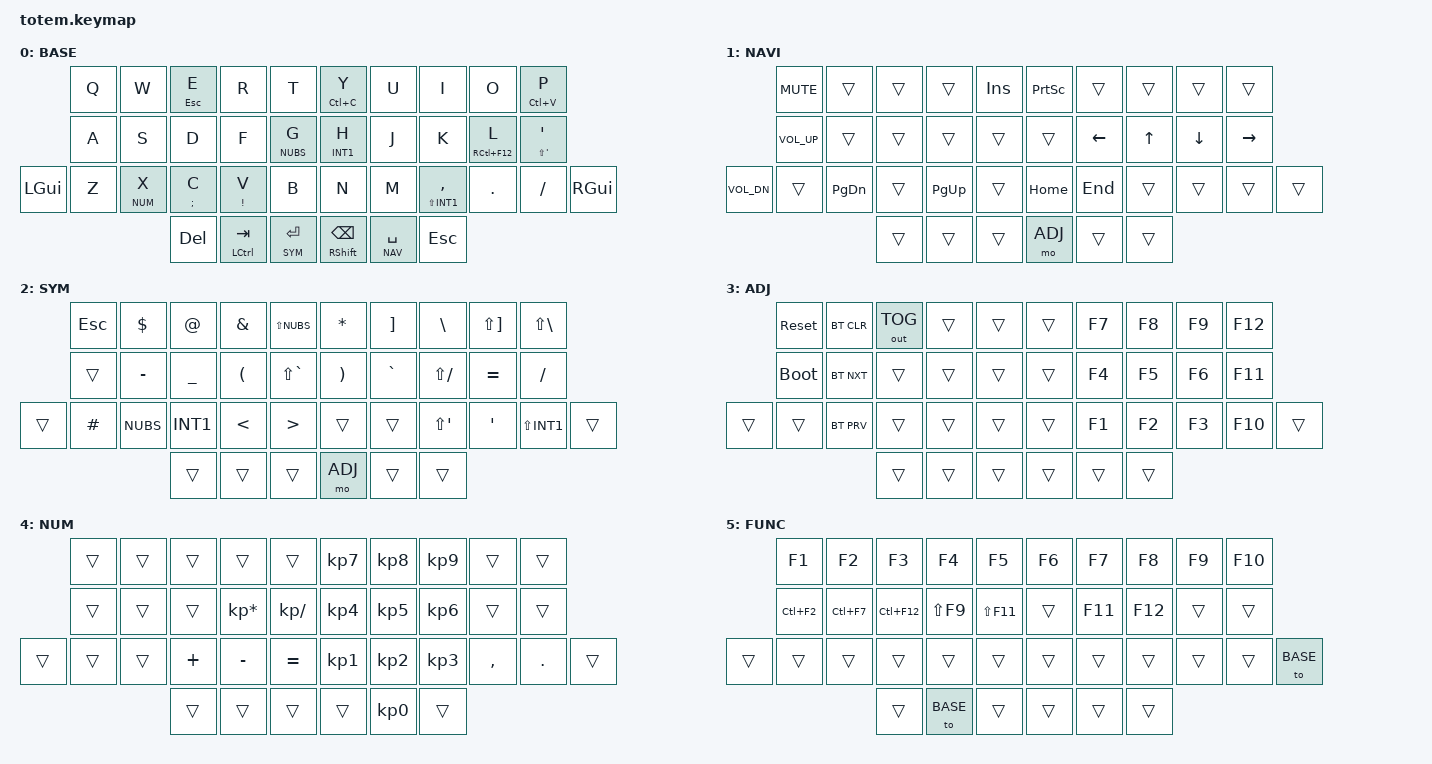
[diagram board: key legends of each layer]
//
//                                                        ▀▀▀▀▀     ▀▀▀▀▀          ▀▀█▀▀
//                                                        ▄▀▀▀▄  ▄  ▄▀▀▀▄  ▄  ▄▀▀▀▄  █  ▄▀▀▀▄
//                                                        █   █  █  █   █  █  █   █  █  █   █
//                                                         ▀▀▀   █   ▀▀▀   █   ▀▀▀   ▀   ▀▀▀
//                                                               █      ▄▄▄█▄▄▄    █   █  
//                                                               ▀      █  █  █     █▄█
//                                                             ▀▀▀▀▀    █  █  █      ▀
//                                                                      ▀  ▀  ▀
//
// ▄▄▄▄▄▄▄▄▄▄▄▄▄▄▄▄▄▄▄▄▄▄▄▄▄▄▄▄▄▄▄▄▄▄▄▄▄▄▄▄▄▄▄▄▄▄▄▄▄▄▄▄▄▄▄▄▄▄▄▄▄▄▄▄▄▄▄▄▄▄▄▄▄▄▄▄▄▄▄▄▄▄▄▄▄▄▄▄▄▄▄▄▄▄▄▄▄▄▄▄▄▄▄▄▄▄▄▄▄▄▄▄▄▄▄▄▄▄▄▄▄▄▄▄▄▄▄▄▄▄▄▄▄▄▄▄▄▄▄▄▄▄▄▄▄▄▄▄▄
       

#include <behaviors.dtsi>
#include <dt-bindings/zmk/behaviors.h>
#include <dt-bindings/zmk/keys.h>
#include <dt-bindings/zmk/bt.h>
#include <dt-bindings/zmk/outputs.h>

#define BASE 0
#define NAV  1
#define SYM  2
#define ADJ  3
#define NUM  4
#define FUNC 5

&mt {
  quick-tap-ms = <100>;
  global-quick-tap;
  flavor = "tap-preferred";
  tapping-term-ms = <170>;
};

/ {
     combos {
            compatible = "zmk,combos";
            combo_esc {
                timeout-ms = <50>;
                key-positions = <0 1>;
                bindings = <&kp ESC>;
            };
            combo_func {
                timeout-ms = <80>;
                key-positions = <33 35>;
                bindings = <&to FUNC>;
            };
    };

    macros {
        gif: gif {
            label = "giphy";
            compatible = "zmk,behavior-macro";
            #binding-cells = <0>;
            bindings
                = <&macro_press &kp LSHFT>
                , <&macro_tap &kp N2>
                , <&macro_release &kp LSHFT>
                , <&macro_tap &kp G &kp I &kp F>
                ;
        };
    };

    behaviors {
        th: tap_hold_key {
            compatible = "zmk,behavior-hold-tap";
            #binding-cells = <2>;
            flavor = "tap-preferred";
            tapping-term-ms = <170>;
            quick-tap-ms = <100>;
            bindings = <&kp>, <&kp>;
            display-name = "Tap-Hold Key";
        };
    };

        keymap {
                compatible = "zmk,keymap";
// ▄▄▄▄▄▄▄▄▄▄▄▄▄▄▄▄▄▄▄▄▄▄▄▄▄▄▄▄▄▄▄▄▄▄▄▄▄▄▄▄▄▄▄▄▄▄▄▄▄▄▄▄▄▄▄▄▄▄▄▄▄▄▄▄▄▄▄▄▄▄▄▄▄▄▄▄▄▄▄▄▄▄▄▄▄▄▄▄▄▄▄▄▄▄▄▄▄▄▄▄▄▄▄▄▄▄▄▄▄▄▄▄▄▄▄▄▄▄▄▄▄▄▄▄▄▄▄▄▄▄▄▄▄▄▄▄▄▄▄▄▄▄▄▄▄▄▄▄▄

                base_layer {
// ┏━━━━━━━━━━━━━━━━━━━━━━━━━━━━━━━━━━━━━━━┓
label= "BASE"                              ;
// ┗━━━━━━━━━━━━━━━━━━━━━━━━━━━━━━━━━━━━━━━┛
//             ┏━━━━━━━━━━━┳━━━━━━━━━━━┳━━━━━━━━━━━┳━━━━━━━━━━━┳━━━━━━━━━━━┓   ┏━━━━━━━━━━━┳━━━━━━━━━━━┳━━━━━━━━━━━┳━━━━━━━━━━━┳━━━━━━━━━━━┓
//             ┃     Q     ┃     W     ┃  E / ESC  ┃     R     ┃     T     ┃   ┃ Y / COPY  ┃     U     ┃     I     ┃     O     ┃ P / PASTE ┃
//             ┣━━━━━━━━━━━╋━━━━━━━━━━━╋━━━━━━━━━━━╋━━━━━━━━━━━╋━━━━━━━━━━━┫   ┣━━━━━━━━━━━╋━━━━━━━━━━━╋━━━━━━━━━━━╋━━━━━━━━━━━╋━━━━━━━━━━━┫
//             ┃     A     ┃     S     ┃     D     ┃     F     ┃  G / \    ┃   ┃  H / /    ┃     J     ┃     K     ┃ L / C-F12 ┃  ~ / ^    ┃
// ┏━━━━━━━━━━━╋━━━━━━━━━━━╋━━━━━━━━━━━╋━━━━━━━━━━━╋━━━━━━━━━━━╋━━━━━━━━━━━┫   ┣━━━━━━━━━━━╋━━━━━━━━━━━╋━━━━━━━━━━━╋━━━━━━━━━━━╋━━━━━━━━━━━╋━━━━━━━━━━━┓
// ┃    GUI    ┃     Z     ┃  X / NUM  ┃  C / Ç    ┃  V / !    ┃     B     ┃   ┃     N     ┃     M     ┃  , / ?    ┃     .     ┃     /     ┃    GUI    ┃
// ┗━━━━━━━━━━━┻━━━━━━━━━━━┻━━━━━━━━━━━╋━━━━━━━━━━━╋━━━━━━━━━━━╋━━━━━━━━━━━┫   ┣━━━━━━━━━━━╋━━━━━━━━━━━╋━━━━━━━━━━━╋━━━━━━━━━━━┻━━━━━━━━━━━┻━━━━━━━━━━━┛
//                                     ┃    DEL    ┃ TAB/CTRL  ┃ ENTER/SYM ┃   ┃ BSPC/SHFT ┃ SPACE/NAV ┃    ESC    ┃
//                                     ┗━━━━━━━━━━━┻━━━━━━━━━━━┻━━━━━━━━━━━┛   ┗━━━━━━━━━━━┻━━━━━━━━━━━┻━━━━━━━━━━━┛
 bindings = <
// ╷           ╷           ╷           ╷           ╷           ╷           ╷   ╷           ╷           ╷           ╷           ╷           ╷           ╷

                &kp Q       &kp W       &th ESC E   &kp R       &kp T              &th LC(C) Y &kp U       &kp I       &kp O          &th LC(V) P
                &kp A       &kp S       &kp D       &kp F       &th NUBS G         &th INT1 H  &kp J       &kp K       &th RC(F12) L  &th LS(SQT) SQT
    &kp LGUI    &kp Z       &lt NUM X   &th SEMI C  &th EXCL V   &kp B              &kp N       &kp M       &th LS(INT1) COMMA &kp DOT  &kp FSLH    &kp RGUI
                                        &kp DEL   &mt LCTRL TAB &lt SYM RET    &mt RSHFT BSPC &lt NAV SPACE &kp ESC
                        >;
                };

// ▄▄▄▄▄▄▄▄▄▄▄▄▄▄▄▄▄▄▄▄▄▄▄▄▄▄▄▄▄▄▄▄▄▄▄▄▄▄▄▄▄▄▄▄▄▄▄▄▄▄▄▄▄▄▄▄▄▄▄▄▄▄▄▄▄▄▄▄▄▄▄▄▄▄▄▄▄▄▄▄▄▄▄▄▄▄▄▄▄▄▄▄▄▄▄▄▄▄▄▄▄▄▄▄▄▄▄▄▄▄▄▄▄▄▄▄▄▄▄▄▄▄▄▄▄▄▄▄▄▄▄▄▄▄▄▄▄▄▄▄▄▄▄▄▄▄▄▄▄


                nav_layer {
// ┏━━━━━━━━━━━━━━━━━━━━━━━━━━━━━━━━━━━━━━━┓
label= "NAVI"                              ;
// ┗━━━━━━━━━━━━━━━━━━━━━━━━━━━━━━━━━━━━━━━┛
//             ┏━━━━━━━━━━━┳━━━━━━━━━━━┳━━━━━━━━━━━┳━━━━━━━━━━━┳━━━━━━━━━━━┓   ┏━━━━━━━━━━━┳━━━━━━━━━━━┳━━━━━━━━━━━┳━━━━━━━━━━━┳━━━━━━━━━━━┓
//             ┃   MUTE    ┃           ┃           ┃           ┃    INS    ┃   ┃   PSCR    ┃           ┃           ┃           ┃           ┃
//             ┣━━━━━━━━━━━╋━━━━━━━━━━━╋━━━━━━━━━━━╋━━━━━━━━━━━╋━━━━━━━━━━━┫   ┣━━━━━━━━━━━╋━━━━━━━━━━━╋━━━━━━━━━━━╋━━━━━━━━━━━╋━━━━━━━━━━━┫
//             ┃   VOL+    ┃           ┃           ┃           ┃           ┃   ┃           ┃   LEFT    ┃    UP     ┃   DOWN    ┃   RIGHT   ┃
// ┏━━━━━━━━━━━╋━━━━━━━━━━━╋━━━━━━━━━━━╋━━━━━━━━━━━╋━━━━━━━━━━━╋━━━━━━━━━━━┫   ┣━━━━━━━━━━━╋━━━━━━━━━━━╋━━━━━━━━━━━╋━━━━━━━━━━━╋━━━━━━━━━━━╋━━━━━━━━━━━┓
// ┃   VOL-    ┃           ┃   PG DN   ┃           ┃   PG UP   ┃           ┃   ┃   HOME    ┃    END    ┃           ┃           ┃           ┃           ┃
// ┗━━━━━━━━━━━┻━━━━━━━━━━━┻━━━━━━━━━━━╋━━━━━━━━━━━╋━━━━━━━━━━━╋━━━━━━━━━━━┫   ┣━━━━━━━━━━━╋━━━━━━━━━━━╋━━━━━━━━━━━╋━━━━━━━━━━━┻━━━━━━━━━━━┻━━━━━━━━━━━┛
//                                     ┃           ┃           ┃           ┃   ┃    ADJ    ┃           ┃           ┃
//                                     ┗━━━━━━━━━━━┻━━━━━━━━━━━┻━━━━━━━━━━━┛   ┗━━━━━━━━━━━┻━━━━━━━━━━━┻━━━━━━━━━━━┛
 bindings = <
// ╷           ╷           ╷           ╷           ╷           ╷           ╷   ╷           ╷           ╷           ╷           ╷           ╷           ╷

                &kp C_MUTE  &trans      &trans      &trans      &kp INS         &kp PSCRN   &trans      &trans      &trans      &trans
                &kp C_VOL_UP &trans     &trans      &trans      &trans          &trans      &kp LEFT    &kp UP      &kp DOWN    &kp RIGHT
    &kp C_VOL_DN &trans     &kp PG_DN   &trans      &kp PG_UP   &trans          &kp HOME    &kp END     &trans      &trans      &trans      &trans
                                        &trans      &trans      &trans          &mo ADJ     &trans      &trans
                        >;
                };

// ▄▄▄▄▄▄▄▄▄▄▄▄▄▄▄▄▄▄▄▄▄▄▄▄▄▄▄▄▄▄▄▄▄▄▄▄▄▄▄▄▄▄▄▄▄▄▄▄▄▄▄▄▄▄▄▄▄▄▄▄▄▄▄▄▄▄▄▄▄▄▄▄▄▄▄▄▄▄▄▄▄▄▄▄▄▄▄▄▄▄▄▄▄▄▄▄▄▄▄▄▄▄▄▄▄▄▄▄▄▄▄▄▄▄▄▄▄▄▄▄▄▄▄▄▄▄▄▄▄▄▄▄▄▄▄▄▄▄▄▄▄▄▄▄▄▄▄▄▄


                sim_layer {
// ┏━━━━━━━━━━━━━━━━━━━━━━━━━━━━━━━━━━━━━━━┓
label= "SYM"                               ;
// ┗━━━━━━━━━━━━━━━━━━━━━━━━━━━━━━━━━━━━━━━┛
//             ┏━━━━━━━━━━━┳━━━━━━━━━━━┳━━━━━━━━━━━┳━━━━━━━━━━━┳━━━━━━━━━━━┓   ┏━━━━━━━━━━━┳━━━━━━━━━━━┳━━━━━━━━━━━┳━━━━━━━━━━━┳━━━━━━━━━━━┓
//             ┃    ESC    ┃     $     ┃     @     ┃     &     ┃     |     ┃   ┃     *     ┃     [     ┃     ]     ┃     {     ┃     }     ┃
//             ┣━━━━━━━━━━━╋━━━━━━━━━━━╋━━━━━━━━━━━╋━━━━━━━━━━━╋━━━━━━━━━━━┫   ┣━━━━━━━━━━━╋━━━━━━━━━━━╋━━━━━━━━━━━╋━━━━━━━━━━━╋━━━━━━━━━━━┫
//             ┃           ┃     -     ┃     _     ┃     (     ┃     "     ┃   ┃     )     ┃     '     ┃     :     ┃     =     ┃     ;     ┃
// ┏━━━━━━━━━━━╋━━━━━━━━━━━╋━━━━━━━━━━━╋━━━━━━━━━━━╋━━━━━━━━━━━╋━━━━━━━━━━━┫   ┣━━━━━━━━━━━╋━━━━━━━━━━━╋━━━━━━━━━━━╋━━━━━━━━━━━╋━━━━━━━━━━━╋━━━━━━━━━━━┓
// ┃           ┃     #     ┃     \     ┃     /     ┃     <     ┃     >     ┃   ┃           ┃           ┃     ^     ┃     ~     ┃     ?     ┃           ┃
// ┗━━━━━━━━━━━┻━━━━━━━━━━━┻━━━━━━━━━━━╋━━━━━━━━━━━╋━━━━━━━━━━━╋━━━━━━━━━━━┫   ┣━━━━━━━━━━━╋━━━━━━━━━━━╋━━━━━━━━━━━╋━━━━━━━━━━━┻━━━━━━━━━━━┻━━━━━━━━━━━┛
//                                     ┃           ┃           ┃           ┃   ┃    ADJ    ┃           ┃           ┃
//                                     ┗━━━━━━━━━━━┻━━━━━━━━━━━┻━━━━━━━━━━━┛   ┗━━━━━━━━━━━┻━━━━━━━━━━━┻━━━━━━━━━━━┛
 bindings = <
// ╷           ╷           ╷           ╷           ╷           ╷           ╷   ╷           ╷           ╷           ╷           ╷           ╷           ╷

                &kp ESC     &kp DLLR    &kp AT      &kp AMPS    &kp LS(NUBS)    &kp ASTRK   &kp RBKT    &kp BSLH    &kp LS(RBKT) &kp LS(BSLH)
                &trans      &kp MINUS   &kp UNDER   &kp LPAR    &kp LS(GRAVE)   &kp RPAR    &kp GRAVE   &kp LS(FSLH) &kp EQUAL  &kp FSLH
    &trans      &kp HASH    &kp NUBS    &kp INT1    &kp LT      &kp GT          &trans      &trans      &kp LS(SQT) &kp SQT     &kp LS(INT1) &trans         
                                        &trans      &trans      &trans          &mo ADJ     &trans      &trans      
                        >;
                };

// ▄▄▄▄▄▄▄▄▄▄▄▄▄▄▄▄▄▄▄▄▄▄▄▄▄▄▄▄▄▄▄▄▄▄▄▄▄▄▄▄▄▄▄▄▄▄▄▄▄▄▄▄▄▄▄▄▄▄▄▄▄▄▄▄▄▄▄▄▄▄▄▄▄▄▄▄▄▄▄▄▄▄▄▄▄▄▄▄▄▄▄▄▄▄▄▄▄▄▄▄▄▄▄▄▄▄▄▄▄▄▄▄▄▄▄▄▄▄▄▄▄▄▄▄▄▄▄▄▄▄▄▄▄▄▄▄▄▄▄▄▄▄▄▄▄▄▄▄▄


                adjust_layer {
// ┏━━━━━━━━━━━━━━━━━━━━━━━━━━━━━━━━━━━━━━━┓
label= "ADJ"                               ;
// ┗━━━━━━━━━━━━━━━━━━━━━━━━━━━━━━━━━━━━━━━┛
//             ┏━━━━━━━━━━━┳━━━━━━━━━━━┳━━━━━━━━━━━┳━━━━━━━━━━━┳━━━━━━━━━━━┓   ┏━━━━━━━━━━━┳━━━━━━━━━━━┳━━━━━━━━━━━┳━━━━━━━━━━━┳━━━━━━━━━━━┓
//             ┃   RESET   ┃ BT CLEAR  ┃  OUT TOG  ┃           ┃           ┃   ┃           ┃    F7     ┃    F8     ┃    F9     ┃    F12    ┃
//             ┣━━━━━━━━━━━╋━━━━━━━━━━━╋━━━━━━━━━━━╋━━━━━━━━━━━╋━━━━━━━━━━━┫   ┣━━━━━━━━━━━╋━━━━━━━━━━━╋━━━━━━━━━━━╋━━━━━━━━━━━╋━━━━━━━━━━━┫
//             ┃ BOOTLOAD  ┃ BT NEXT   ┃           ┃           ┃           ┃   ┃           ┃    F4     ┃    F5     ┃    F6     ┃    F11    ┃
// ┏━━━━━━━━━━━╋━━━━━━━━━━━╋━━━━━━━━━━━╋━━━━━━━━━━━╋━━━━━━━━━━━╋━━━━━━━━━━━┫   ┣━━━━━━━━━━━╋━━━━━━━━━━━╋━━━━━━━━━━━╋━━━━━━━━━━━╋━━━━━━━━━━━╋━━━━━━━━━━━┓
// ┃           ┃           ┃ BT PREV   ┃           ┃           ┃           ┃   ┃           ┃    F1     ┃    F2     ┃    F3     ┃    F10    ┃           ┃
// ┗━━━━━━━━━━━┻━━━━━━━━━━━┻━━━━━━━━━━━╋━━━━━━━━━━━╋━━━━━━━━━━━╋━━━━━━━━━━━┫   ┣━━━━━━━━━━━╋━━━━━━━━━━━╋━━━━━━━━━━━╋━━━━━━━━━━━┻━━━━━━━━━━━┻━━━━━━━━━━━┛
//                                     ┃           ┃           ┃           ┃   ┃           ┃           ┃           ┃
//                                     ┗━━━━━━━━━━━┻━━━━━━━━━━━┻━━━━━━━━━━━┛   ┗━━━━━━━━━━━┻━━━━━━━━━━━┻━━━━━━━━━━━┛
 bindings = <
// ╷           ╷           ╷           ╷           ╷           ╷           ╷   ╷           ╷           ╷           ╷           ╷           ╷           ╷

                &sys_reset  &bt BT_CLR &out OUT_TOG &trans      &trans          &trans      &kp F7      &kp F8      &kp F9      &kp F12
                &bootloader &bt BT_NXT  &trans      &trans      &trans          &trans      &kp F4      &kp F5      &kp F6      &kp F11  
    &trans      &trans      &bt BT_PRV  &trans      &trans      &trans          &trans      &kp F1      &kp F2      &kp F3      &kp F10     &trans         
                                        &trans      &trans      &trans          &trans      &trans      &trans      
                        >;
                };

// ▄▄▄▄▄▄▄▄▄▄▄▄▄▄▄▄▄▄▄▄▄▄▄▄▄▄▄▄▄▄▄▄▄▄▄▄▄▄▄▄▄▄▄▄▄▄▄▄▄▄▄▄▄▄▄▄▄▄▄▄▄▄▄▄▄▄▄▄▄▄▄▄▄▄▄▄▄▄▄▄▄▄▄▄▄▄▄▄▄▄▄▄▄▄▄▄▄▄▄▄▄▄▄▄▄▄▄▄▄▄▄▄▄▄▄▄▄▄▄▄▄▄▄▄▄▄▄▄▄▄▄▄▄▄▄▄▄▄▄▄▄▄▄▄▄▄▄▄▄
                num_layer {
// ┏━━━━━━━━━━━━━━━━━━━━━━━━━━━━━━━━━━━━━━━┓
label= "NUM"                               ;
// ┗━━━━━━━━━━━━━━━━━━━━━━━━━━━━━━━━━━━━━━━┛
//             ┏━━━━━━━━━━━┳━━━━━━━━━━━┳━━━━━━━━━━━┳━━━━━━━━━━━┳━━━━━━━━━━━┓   ┏━━━━━━━━━━━┳━━━━━━━━━━━┳━━━━━━━━━━━┳━━━━━━━━━━━┳━━━━━━━━━━━┓
//             ┃           ┃           ┃           ┃           ┃           ┃   ┃     7     ┃     8     ┃     9     ┃           ┃           ┃
//             ┣━━━━━━━━━━━╋━━━━━━━━━━━╋━━━━━━━━━━━╋━━━━━━━━━━━╋━━━━━━━━━━━┫   ┣━━━━━━━━━━━╋━━━━━━━━━━━╋━━━━━━━━━━━╋━━━━━━━━━━━╋━━━━━━━━━━━┫
//             ┃           ┃           ┃           ┃     *     ┃     /     ┃   ┃     4     ┃     5     ┃     6     ┃           ┃           ┃
// ┏━━━━━━━━━━━╋━━━━━━━━━━━╋━━━━━━━━━━━╋━━━━━━━━━━━╋━━━━━━━━━━━╋━━━━━━━━━━━┫   ┣━━━━━━━━━━━╋━━━━━━━━━━━╋━━━━━━━━━━━╋━━━━━━━━━━━╋━━━━━━━━━━━╋━━━━━━━━━━━┓
// ┃           ┃           ┃           ┃     +     ┃     -     ┃     =     ┃   ┃     1     ┃     2     ┃     3     ┃     ,     ┃     .     ┃           ┃
// ┗━━━━━━━━━━━┻━━━━━━━━━━━┻━━━━━━━━━━━╋━━━━━━━━━━━╋━━━━━━━━━━━╋━━━━━━━━━━━┫   ┣━━━━━━━━━━━╋━━━━━━━━━━━╋━━━━━━━━━━━╋━━━━━━━━━━━┻━━━━━━━━━━━┻━━━━━━━━━━━┛
//                                     ┃           ┃           ┃           ┃   ┃           ┃     0     ┃           ┃
//                                     ┗━━━━━━━━━━━┻━━━━━━━━━━━┻━━━━━━━━━━━┛   ┗━━━━━━━━━━━┻━━━━━━━━━━━┻━━━━━━━━━━━┛
 bindings = <
// ╷           ╷           ╷           ╷           ╷           ╷           ╷   ╷           ╷           ╷           ╷           ╷           ╷           ╷

                &trans      &trans      &trans      &trans      &trans          &kp KP_N7   &kp KP_N8   &kp KP_N9   &trans      &trans
                &trans      &trans      &trans      &kp KP_MULTIPLY &kp KP_SLASH &kp KP_N4   &kp KP_N5   &kp KP_N6   &trans      &trans
    &trans      &trans      &trans      &kp PLUS    &kp MINUS   &kp EQUAL       &kp KP_N1   &kp KP_N2   &kp KP_N3   &kp COMMA   &kp DOT     &trans        
                                        &trans      &trans      &trans          &trans      &kp KP_N0   &trans    
                        >;
                };

// ▄▄▄▄▄▄▄▄▄▄▄▄▄▄▄▄▄▄▄▄▄▄▄▄▄▄▄▄▄▄▄▄▄▄▄▄▄▄▄▄▄▄▄▄▄▄▄▄▄▄▄▄▄▄▄▄▄▄▄▄▄▄▄▄▄▄▄▄▄▄▄▄▄▄▄▄▄▄▄▄▄▄▄▄▄▄▄▄▄▄▄▄▄▄▄▄▄▄▄▄▄▄▄▄▄▄▄▄▄▄▄▄▄▄▄▄▄▄▄▄▄▄▄▄▄▄▄▄▄▄▄▄▄▄▄▄▄▄▄▄▄▄▄▄▄▄▄▄▄


                func_layer {
// ┏━━━━━━━━━━━━━━━━━━━━━━━━━━━━━━━━━━━━━━━┓
label= "FUNC"                              ;
// ┗━━━━━━━━━━━━━━━━━━━━━━━━━━━━━━━━━━━━━━━┛
//             ┏━━━━━━━━━━━┳━━━━━━━━━━━┳━━━━━━━━━━━┳━━━━━━━━━━━┳━━━━━━━━━━━┓   ┏━━━━━━━━━━━┳━━━━━━━━━━━┳━━━━━━━━━━━┳━━━━━━━━━━━┳━━━━━━━━━━━┓
//             ┃    F1     ┃    F2     ┃    F3     ┃    F4     ┃    F5     ┃   ┃    F6     ┃    F7     ┃    F8     ┃    F9     ┃    F10    ┃
//             ┣━━━━━━━━━━━╋━━━━━━━━━━━╋━━━━━━━━━━━╋━━━━━━━━━━━╋━━━━━━━━━━━┫   ┣━━━━━━━━━━━╋━━━━━━━━━━━╋━━━━━━━━━━━╋━━━━━━━━━━━╋━━━━━━━━━━━┫
//             ┃ CTRL+F2   ┃ CTRL+F7   ┃ CTRL+F12  ┃ SHFT+F9   ┃ SHFT+F11  ┃   ┃           ┃    F11    ┃    F12    ┃           ┃           ┃
// ┏━━━━━━━━━━━╋━━━━━━━━━━━╋━━━━━━━━━━━╋━━━━━━━━━━━╋━━━━━━━━━━━╋━━━━━━━━━━━┫   ┣━━━━━━━━━━━╋━━━━━━━━━━━╋━━━━━━━━━━━╋━━━━━━━━━━━╋━━━━━━━━━━━╋━━━━━━━━━━━┓
// ┃           ┃           ┃           ┃           ┃           ┃           ┃   ┃           ┃           ┃           ┃           ┃           ┃    BASE   ┃
// ┗━━━━━━━━━━━┻━━━━━━━━━━━┻━━━━━━━━━━━╋━━━━━━━━━━━╋━━━━━━━━━━━╋━━━━━━━━━━━┫   ┣━━━━━━━━━━━╋━━━━━━━━━━━╋━━━━━━━━━━━╋━━━━━━━━━━━┻━━━━━━━━━━━┻━━━━━━━━━━━┛
//                                     ┃           ┃    BASE   ┃           ┃   ┃           ┃           ┃           ┃
//                                     ┗━━━━━━━━━━━┻━━━━━━━━━━━┻━━━━━━━━━━━┛   ┗━━━━━━━━━━━┻━━━━━━━━━━━┻━━━━━━━━━━━┛
 bindings = <
// ╷           ╷           ╷           ╷           ╷           ╷           ╷   ╷           ╷           ╷           ╷           ╷           ╷           ╷

                &kp F1      &kp F2      &kp F3      &kp F4      &kp F5          &kp F6      &kp F7      &kp F8      &kp F9      &kp F10
                &kp LC(F2)  &kp LC(F7)  &kp LC(F12) &kp LS(F9)  &kp LS(F11)     &trans      &kp F11     &kp F12     &trans      &trans
    &trans      &trans      &trans      &trans      &trans      &trans          &trans      &trans      &trans      &trans      &trans      &to BASE
                                        &trans      &to BASE    &trans          &trans      &trans      &trans      
                        >;
                };
        };
};
